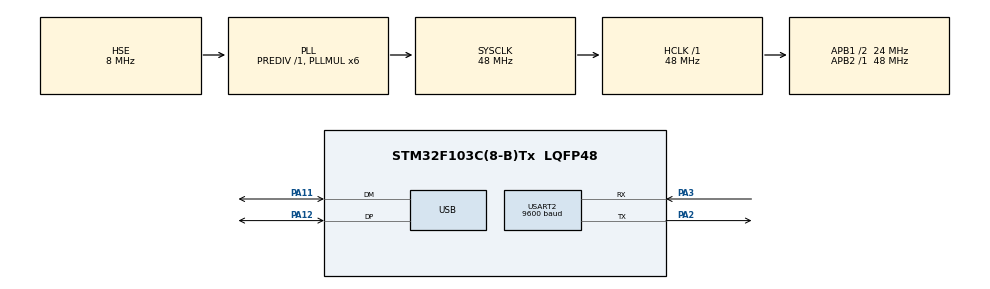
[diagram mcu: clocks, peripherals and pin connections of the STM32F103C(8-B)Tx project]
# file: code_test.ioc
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Mcu.Family=STM32F1
Mcu.Name=STM32F103C(8-B)Tx
Mcu.Package=LQFP48
NVIC.PriorityGroup=NVIC_PRIORITYGROUP_4
NVIC.USART2_IRQn=true\:0\:0\:false\:false\:true\:true\:true\:true
PA11.Mode=Device
PA11.Signal=USB_DM
PA12.Mode=Device
PA12.Signal=USB_DP
PA13.Mode=Serial_Wire
PA13.Signal=SYS_JTMS-SWDIO
PA14.Mode=Serial_Wire
PA14.Signal=SYS_JTCK-SWCLK
PA2.Mode=Asynchronous
PA2.Signal=USART2_TX
PA3.Mode=Asynchronous
PA3.Signal=USART2_RX
PD0-OSC_IN.Mode=HSE-External-Oscillator
PD0-OSC_IN.Signal=RCC_OSC_IN
PD1-OSC_OUT.Mode=HSE-External-Oscillator
PD1-OSC_OUT.Signal=RCC_OSC_OUT
ProjectManager.HeapSize=0x200
ProjectManager.StackSize=0x400
ProjectManager.TargetToolchain=MDK-ARM V5
RCC.AHBFreq_Value=48000000
RCC.APB1CLKDivider=RCC_HCLK_DIV2
RCC.APB1Freq_Value=24000000
RCC.APB1TimFreq_Value=48000000
RCC.APB2Freq_Value=48000000
RCC.APB2TimFreq_Value=48000000
RCC.HCLKFreq_Value=48000000
RCC.PLLMUL=RCC_PLL_MUL6
RCC.SYSCLKFreq_VALUE=48000000
RCC.SYSCLKSource=RCC_SYSCLKSOURCE_PLLCLK
RCC.USBFreq_Value=48000000
USART2.BaudRate=9600
USART2.VirtualMode=VM_ASYNC
board=custom

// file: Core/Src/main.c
/* USER CODE BEGIN Header */
/**
  ******************************************************************************
  * @file           : main.c
  * @brief          : Main program body
  ******************************************************************************
  * @attention
  *
  * Copyright (c) 2025 STMicroelectronics.
  * All rights reserved.
  *
  * This software is licensed under terms that can be found in the LICENSE file
  * in the root directory of this software component.
  * If no LICENSE file comes with this software, it is provided AS-IS.
  *
  ******************************************************************************
  */
/* USER CODE END Header */
#include "main.h"
#include <stdlib.h>

UART_HandleTypeDef huart2;

PCD_HandleTypeDef hpcd_USB_FS;

/* USER CODE BEGIN PV */
uint8_t _rxBuff[20];
uint8_t _txBuff[20] ="you're welcome";
uint8_t _rxData;
uint8_t _rxIndex;
uint16_t _txFlag = 0;
/* USER CODE END PV */

void SystemClock_Config(void);
static void MX_GPIO_Init(void);
static void MX_USART2_UART_Init(void);
static void MX_USB_PCD_Init(void);

/* USER CODE BEGIN 0 */
void HAL_UART_RxCpltCallback(UART_HandleTypeDef *huart)
{
	if(huart->Instance ==USART2)
	{
		if(_rxData != 51)
		{
			_rxBuff[_rxIndex++] = _rxData;
		}
		else if(_rxData == 51)
		{
			_rxIndex =0;
			_txFlag = 1;
		}
		HAL_UART_Receive_IT(&huart2,&_rxData,1);
	}
}
/* USER CODE END 0 */

int main(void)
{

  /* MCU Configuration--------------------------------------------------------*/

  /* Reset of all peripherals, Initializes the Flash interface and the Systick. */
  HAL_Init();

  /* Configure the system clock */
  SystemClock_Config();

  /* Initialize all configured peripherals */
  MX_GPIO_Init();
  MX_USART2_UART_Init();
  MX_USB_PCD_Init();
  /* USER CODE BEGIN 2 */
	HAL_UART_Transmit(&huart2, _txBuff, sizeof(_txBuff),1000);
	HAL_UART_Receive_IT(&huart2,&_rxData,1);
  /* USER CODE END 2 */

  /* Infinite loop */
  while (1)
  {
		if(_txFlag)
		{
			for(uint8_t i = 0 ; i < 20 ; i++)
			{
				_txBuff[i] = _rxBuff[i];
			}
			HAL_UART_Transmit(&huart2, _txBuff, sizeof(_txBuff),1000);
			_txFlag = 0;
		}
  }
}

void SystemClock_Config(void)
{
  RCC_OscInitTypeDef RCC_OscInitStruct = {0};
  RCC_ClkInitTypeDef RCC_ClkInitStruct = {0};
  RCC_PeriphCLKInitTypeDef PeriphClkInit = {0};

  /** Initializes the RCC Oscillators according to the specified parameters
  * in the RCC_OscInitTypeDef structure.
  */
  RCC_OscInitStruct.OscillatorType = RCC_OSCILLATORTYPE_HSE;
  RCC_OscInitStruct.HSEState = RCC_HSE_ON;
  RCC_OscInitStruct.HSEPredivValue = RCC_HSE_PREDIV_DIV1;
  RCC_OscInitStruct.HSIState = RCC_HSI_ON;
  RCC_OscInitStruct.PLL.PLLState = RCC_PLL_ON;
  RCC_OscInitStruct.PLL.PLLSource = RCC_PLLSOURCE_HSE;
  RCC_OscInitStruct.PLL.PLLMUL = RCC_PLL_MUL6;
  if (HAL_RCC_OscConfig(&RCC_OscInitStruct) != HAL_OK)
  {
    Error_Handler();
  }

  /** Initializes the CPU, AHB and APB buses clocks
  */
  RCC_ClkInitStruct.ClockType = RCC_CLOCKTYPE_HCLK|RCC_CLOCKTYPE_SYSCLK
                              |RCC_CLOCKTYPE_PCLK1|RCC_CLOCKTYPE_PCLK2;
  RCC_ClkInitStruct.SYSCLKSource = RCC_SYSCLKSOURCE_PLLCLK;
  RCC_ClkInitStruct.AHBCLKDivider = RCC_SYSCLK_DIV1;
  RCC_ClkInitStruct.APB1CLKDivider = RCC_HCLK_DIV2;
  RCC_ClkInitStruct.APB2CLKDivider = RCC_HCLK_DIV1;

  if (HAL_RCC_ClockConfig(&RCC_ClkInitStruct, FLASH_LATENCY_1) != HAL_OK)
  {
    Error_Handler();
  }
  PeriphClkInit.PeriphClockSelection = RCC_PERIPHCLK_USB;
  PeriphClkInit.UsbClockSelection = RCC_USBCLKSOURCE_PLL;
  if (HAL_RCCEx_PeriphCLKConfig(&PeriphClkInit) != HAL_OK)
  {
    Error_Handler();
  }
}

static void MX_USART2_UART_Init(void)
{

  huart2.Instance = USART2;
  huart2.Init.BaudRate = 9600;
  huart2.Init.WordLength = UART_WORDLENGTH_8B;
  huart2.Init.StopBits = UART_STOPBITS_1;
  huart2.Init.Parity = UART_PARITY_NONE;
  huart2.Init.Mode = UART_MODE_TX_RX;
  huart2.Init.HwFlowCtl = UART_HWCONTROL_NONE;
  huart2.Init.OverSampling = UART_OVERSAMPLING_16;
  if (HAL_UART_Init(&huart2) != HAL_OK)
  {
    Error_Handler();
  }

}

static void MX_USB_PCD_Init(void)
{

  hpcd_USB_FS.Instance = USB;
  hpcd_USB_FS.Init.dev_endpoints = 8;
  hpcd_USB_FS.Init.speed = PCD_SPEED_FULL;
  hpcd_USB_FS.Init.low_power_enable = DISABLE;
  hpcd_USB_FS.Init.lpm_enable = DISABLE;
  hpcd_USB_FS.Init.battery_charging_enable = DISABLE;
  if (HAL_PCD_Init(&hpcd_USB_FS) != HAL_OK)
  {
    Error_Handler();
  }

}

static void MX_GPIO_Init(void)
{

  /* GPIO Ports Clock Enable */
  __HAL_RCC_GPIOD_CLK_ENABLE();
  __HAL_RCC_GPIOA_CLK_ENABLE();

}

void Error_Handler(void)
{
  __disable_irq();
  while (1)
  {
  }
}
